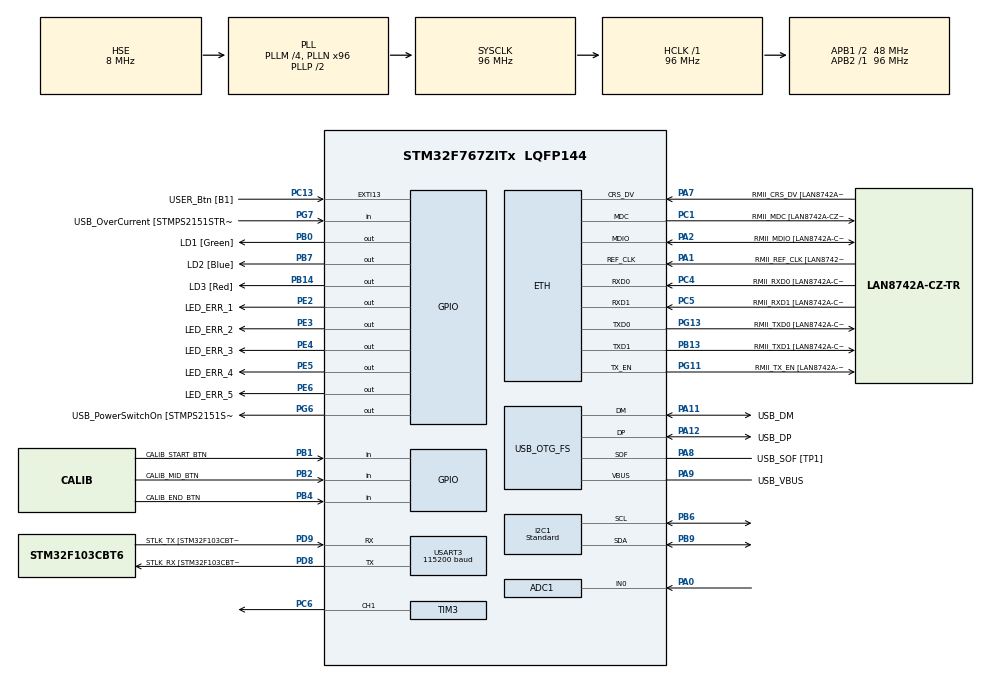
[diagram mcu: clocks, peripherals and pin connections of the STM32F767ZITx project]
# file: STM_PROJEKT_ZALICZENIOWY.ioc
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ADC1.Channel-0\#ChannelRegularConversion=ADC_CHANNEL_0
ADC1.ContinuousConvMode=DISABLE
ADC1.NbrOfConversionFlag=1
ADC1.Rank-0\#ChannelRegularConversion=1
ADC1.SamplingTime-0\#ChannelRegularConversion=ADC_SAMPLETIME_480CYCLES
ADC1.master=1
ARM.CMSIS.5.7.0.CMSISJjCORE=true
ARM.CMSIS.5.7.0.CMSISJjDSP=Library
ETH.MediaInterface=HAL_ETH_RMII_MODE
ETH.PHY_Name=LAN8742A_PHY_ADDRESS
ETH.PHY_Value=0
ETH.PhyAddress=0
FREERTOS.Tasks01=defaultTask,0,256,StartDefaultTask,Default,NULL,Dynamic,NULL,NULL;ControlTask,2,1024,StartControlTask,Default,NULL,Dynamic,NULL,NULL
FREERTOS.configUSE_NEWLIB_REENTRANT=1
I2C1.I2C_Speed_Mode=I2C_Standard
I2C1.Timing=0x20303E5D
Mcu.Family=STM32F7
Mcu.Name=STM32F767ZITx
Mcu.Package=LQFP144
NVIC.PriorityGroup=NVIC_PRIORITYGROUP_4
NVIC.TIM1_UP_TIM10_IRQn=true\:15\:0\:false\:false\:true\:false\:false\:true\:true
NVIC.TimeBase=TIM1_UP_TIM10_IRQn
NVIC.TimeBaseIP=TIM1
NVIC.USART3_IRQn=true\:5\:0\:false\:false\:true\:true\:true\:true\:true
PA0/WKUP.Signal=ADCx_IN0
PA1.GPIO_Label=RMII_REF_CLK [LAN8742A-CZ-TR_REFCLK0]
PA1.Mode=RMII
PA1.Signal=ETH_REF_CLK
PA10.GPIO_Label=USB_ID
PA10.Signal=USB_OTG_FS_ID
PA11.GPIO_Label=USB_DM
PA11.Mode=Device_Only
PA11.Signal=USB_OTG_FS_DM
PA12.GPIO_Label=USB_DP
PA12.Mode=Device_Only
PA12.Signal=USB_OTG_FS_DP
PA13.GPIO_Label=TMS
PA13.Mode=Serial_Wire
PA13.Signal=SYS_JTMS-SWDIO
PA14.GPIO_Label=TCK
PA14.Mode=Serial_Wire
PA14.Signal=SYS_JTCK-SWCLK
PA2.GPIO_Label=RMII_MDIO [LAN8742A-CZ-TR_MDIO]
PA2.Mode=RMII
PA2.Signal=ETH_MDIO
PA7.GPIO_Label=RMII_CRS_DV [LAN8742A-CZ-TR_CRS_DV]
PA7.Mode=RMII
PA7.Signal=ETH_CRS_DV
PA8.GPIO_Label=USB_SOF [TP1]
PA8.Mode=Activate_SOF_FS
PA8.Signal=USB_OTG_FS_SOF
PA9.GPIO_Label=USB_VBUS
PA9.Mode=Activate_VBUS
PA9.Signal=USB_OTG_FS_VBUS
PB0.GPIO_Label=LD1 [Green]
PB0.Signal=GPIO_Output
PB1.GPIO_Label=CALIB_START_BTN
PB1.GPIO_PuPd=GPIO_PULLUP
PB1.Signal=GPIO_Input
PB13.GPIO_Label=RMII_TXD1 [LAN8742A-CZ-TR_TXD1]
PB13.Mode=RMII
PB13.Signal=ETH_TXD1
PB14.GPIO_Label=LD3 [Red]
PB14.Signal=GPIO_Output
PB2.GPIO_Label=CALIB_MID_BTN
PB2.GPIO_PuPd=GPIO_PULLUP
PB2.Signal=GPIO_Input
PB3.GPIO_Label=SWO
PB3.Signal=SYS_JTDO-SWO
PB4.GPIO_Label=CALIB_END_BTN
PB4.GPIO_PuPd=GPIO_PULLUP
PB4.Signal=GPIO_Input
PB6.Mode=I2C
PB6.Signal=I2C1_SCL
PB7.GPIO_Label=LD2 [Blue]
PB7.Signal=GPIO_Output
PB9.Mode=I2C
PB9.Signal=I2C1_SDA
PC1.GPIO_Label=RMII_MDC [LAN8742A-CZ-TR_MDC]
PC1.Mode=RMII
PC1.Signal=ETH_MDC
PC13.GPIO_Label=USER_Btn [B1]
PC13.Signal=GPXTI13
PC14/OSC32_IN.Mode=LSE-External-Oscillator
PC14/OSC32_IN.Signal=RCC_OSC32_IN
PC15/OSC32_OUT.Mode=LSE-External-Oscillator
PC15/OSC32_OUT.Signal=RCC_OSC32_OUT
PC4.GPIO_Label=RMII_RXD0 [LAN8742A-CZ-TR_RXD0]
PC4.Mode=RMII
PC4.Signal=ETH_RXD0
PC5.GPIO_Label=RMII_RXD1 [LAN8742A-CZ-TR_RXD1]
PC5.Mode=RMII
PC5.Signal=ETH_RXD1
PC6.Signal=S_TIM3_CH1
PD8.GPIO_Label=STLK_RX [STM32F103CBT6_PA3]
PD8.Mode=Asynchronous
PD8.Signal=USART3_TX
PD9.GPIO_Label=STLK_TX [STM32F103CBT6_PA2]
PD9.Mode=Asynchronous
PD9.Signal=USART3_RX
PE2.GPIO_Label=LED_ERR_1
PE2.Signal=GPIO_Output
PE3.GPIO_Label=LED_ERR_2
PE3.Signal=GPIO_Output
PE4.GPIO_Label=LED_ERR_3
PE4.Signal=GPIO_Output
PE5.GPIO_Label=LED_ERR_4
PE5.Signal=GPIO_Output
PE6.GPIO_Label=LED_ERR_5
PE6.Signal=GPIO_Output
PG11.GPIO_Label=RMII_TX_EN [LAN8742A-CZ-TR_TXEN]
PG11.Mode=RMII
PG11.Signal=ETH_TX_EN
PG13.GPIO_Label=RMII_TXD0 [LAN8742A-CZ-TR_TXD0]
PG13.Mode=RMII
PG13.Signal=ETH_TXD0
PG6.GPIO_Label=USB_PowerSwitchOn [STMPS2151STR_EN]
PG6.Signal=GPIO_Output
PG7.GPIO_Label=USB_OverCurrent [STMPS2151STR_FAULT]
PG7.Signal=GPIO_Input
PH0/OSC_IN.GPIO_Label=MCO [STM32F103CBT6_PA8]
PH0/OSC_IN.Mode=HSE-External-Clock-Source
PH0/OSC_IN.Signal=RCC_OSC_IN
PH1/OSC_OUT.Mode=HSE-External-Clock-Source
PH1/OSC_OUT.Signal=RCC_OSC_OUT
ProjectManager.HeapSize=0x200
ProjectManager.StackSize=0x400
ProjectManager.TargetToolchain=STM32CubeIDE
RCC.48MHZClocksFreq_Value=24000000
RCC.AHBFreq_Value=96000000
RCC.APB1CLKDivider=RCC_HCLK_DIV2
RCC.APB1Freq_Value=48000000
RCC.APB1TimFreq_Value=96000000
RCC.APB2Freq_Value=96000000
RCC.APB2TimFreq_Value=96000000
RCC.CortexFreq_Value=96000000
RCC.HCLKFreq_Value=96000000
RCC.HSE_VALUE=8000000
RCC.HSI_VALUE=16000000
RCC.PLLM=4
RCC.PLLMUL=RCC_PLL_MUL9
RCC.PLLN=96
RCC.PLLQ=4
RCC.PRESCALERUSB=RCC_USBCLKSOURCE_PLL_DIV1_5
RCC.SYSCLKFreq_VALUE=96000000
RCC.SYSCLKSource=RCC_SYSCLKSOURCE_PLLCLK
RCC.SYSCLKSourceVirtual=RCC_SYSCLKSOURCE_PLLCLK
RCC.USBFreq_Value=48000000
RCC.VCOOutputFreq_Value=192000000
SH.ADCx_IN0.0=ADC1_IN0,IN0
SH.S_TIM3_CH1.0=TIM3_CH1,PWM Generation1 CH1
TIM3.Channel-PWM\ Generation1\ CH1=TIM_CHANNEL_1
TIM3.Period=19999
TIM3.Prescaler=95
USART3.BaudRate=115200
USART3.VirtualMode-Asynchronous=VM_ASYNC
USB_OTG_FS.VirtualMode=Device_Only
VP_ARM.CMSIS_VS_CMSISJjCORE_5.4.0_5.7.0.Mode=CMSISJjCORE
VP_ARM.CMSIS_VS_CMSISJjDSP_1.8.0_5.7.0.Mode=CMSISJjDSP
VP_FREERTOS_VS_CMSIS_V1.Mode=CMSIS_V1
VP_SYS_VS_tim1.Mode=TIM1
VP_TIM3_VS_ClockSourceINT.Mode=Internal
board=NUCLEO-F767ZI

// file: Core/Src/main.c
/* USER CODE BEGIN Header */
/**
 ******************************************************************************
 * @file           : main.c
 * @brief          : Main program body
 ******************************************************************************
 * @attention
 *
 * Copyright (c) 2025 STMicroelectronics.
 * All rights reserved.
 *
 * This software is licensed under terms that can be found in the LICENSE file
 * in the root directory of this software component.
 * If no LICENSE file comes with this software, it is provided AS-IS.
 *
 ******************************************************************************
 */
/* USER CODE END Header */
#include "main.h"
#include "string.h"
#include "cmsis_os.h"

/* USER CODE BEGIN Includes */

#include "VL53L0X.h"
#include <stdio.h>
#include <stdlib.h>
#include <math.h>
#include "filters.h"
#include "calibration.h"
#include "servo_pid.h"
#include "lqr.h"
#include "crc8.h"
#include "leds.h"

/* USER CODE END Includes */

#if defined ( __ICCARM__ ) /*!< IAR Compiler */
#pragma location=0x2007c000
ETH_DMADescTypeDef  DMARxDscrTab[ETH_RX_DESC_CNT]; /* Ethernet Rx DMA Descriptors */
#pragma location=0x2007c0a0
ETH_DMADescTypeDef  DMATxDscrTab[ETH_TX_DESC_CNT]; /* Ethernet Tx DMA Descriptors */

#elif defined ( __CC_ARM )  /* MDK ARM Compiler */

__attribute__((at(0x2007c000))) ETH_DMADescTypeDef  DMARxDscrTab[ETH_RX_DESC_CNT]; /* Ethernet Rx DMA Descriptors */
__attribute__((at(0x2007c0a0))) ETH_DMADescTypeDef  DMATxDscrTab[ETH_TX_DESC_CNT]; /* Ethernet Tx DMA Descriptors */

#elif defined ( __GNUC__ ) /* GNU Compiler */

ETH_DMADescTypeDef DMARxDscrTab[ETH_RX_DESC_CNT] __attribute__((section(".RxDecripSection"))); /* Ethernet Rx DMA Descriptors */
ETH_DMADescTypeDef DMATxDscrTab[ETH_TX_DESC_CNT] __attribute__((section(".TxDecripSection"))); /* Ethernet Tx DMA Descriptors */
#endif

ETH_TxPacketConfig TxConfig;

ADC_HandleTypeDef hadc1;

ETH_HandleTypeDef heth;

I2C_HandleTypeDef hi2c1;

TIM_HandleTypeDef htim3;

UART_HandleTypeDef huart3;
DMA_HandleTypeDef hdma_usart3_rx;
DMA_HandleTypeDef hdma_usart3_tx;

PCD_HandleTypeDef hpcd_USB_OTG_FS;

osThreadId defaultTaskHandle;
osThreadId ControlTaskHandle;
/* USER CODE BEGIN PV */
uint16_t distance;
char msg[64];

// --- DMA UART RX ---
#define DMA_RX_BUFFER_SIZE 128
uint8_t dma_rx_buffer[DMA_RX_BUFFER_SIZE];
volatile uint16_t dma_rx_head = 0;  // Wskaźnik przetwarzania

// Bufor na komendy/ramki
uint8_t cmd_buffer[64];
volatile uint8_t cmd_len = 0;
volatile uint8_t cmd_received = 0;

// Dane z systemu wizyjnego (Python)
volatile float g_vision_ball_pos = 125.0f;   // Pozycja piłeczki [mm] z OpenCV
volatile float g_vision_beam_angle = 0.0f;   // Kąt belki [stopnie] z OpenCV
volatile uint8_t g_vision_data_valid = 0;    // Flaga: czy dane są aktualne
volatile uint32_t g_vision_last_update = 0;  // Timestamp ostatniej aktualizacji

// Stare zmienne obsługi UART (do usunięcia po pełnej migracji)
uint8_t rx_byte;
uint8_t rx_buffer[64];
volatile uint8_t rx_idx = 0;

// Główne zmienne sterujące
volatile float g_setpoint = 125.0f;
volatile float g_Kp = 0.26f;
volatile float g_Ki = 0.0064f;
volatile float g_Kd = 4.4f;

// Zmienne kalibracji
// volatile uint8_t calibration_mode = 0;
// volatile float cal_raw_min = 9999.0f;
// volatile float cal_raw_max = 0.0f;
// volatile uint32_t cal_start_time = 0;

// // Domyślne punkty kalibracyjne
// volatile float sensor_min = 50.0f;
// volatile float sensor_max = 220.0f;
// volatile float sensor_middle = 115.0f;

// Bufor średniego uchybu
float err_buffer[AVG_ERR_SAMPLES];
uint8_t err_idx = 0;
float err_sum = 0.0f;

// Tryb sterowania: 0 = GUI (Manual), 1 = Analog (Potencjometr)
volatile uint8_t control_mode = 0;

// Start/Stop regulatora: 0 = wyłączony, 1 = włączony (domyślnie)
volatile uint8_t g_regulator_enabled = 1;

// Kontroler ServoPID (nasza implementacja) - domyślny
ServoPID_Controller g_servo_pid;

// Kontroler LQR (model 3-stanowy)
LQR_Controller_t g_lqr_ctrl;
volatile float g_K1 = 1.00f;
volatile float g_K2 = 0.75f;
volatile float g_K3 = 0.38f;

// Tryb regulacji: 0 = Custom PID (servo_pid, domyślny), 1 = LQR
volatile uint8_t g_pid_mode = 0;

// Debugging
volatile uint32_t g_adc_raw = 0;
volatile float g_pot_setpoint = 0.0f;

// Zmienna współdzielona do wizualizacji błędu na LED
volatile float g_current_error = 0.0f;

// Manual control angle (when regulator is disabled) - in DEGREES
volatile float g_manual_servo_angle_deg = SERVO_CENTER_DEG;

#include "signal.h" // Generated by Matlab

// --- ID TEST VARIABLES ---
volatile uint8_t g_test_running = 0;
volatile uint32_t g_test_index = 0;

// Sampling period (ms) - can be changed via UART command T:xx
volatile uint32_t g_pid_dt_ms = PID_DT_MS;

/* USER CODE END PV */

void SystemClock_Config(void);
static void MX_GPIO_Init(void);
static void MX_DMA_Init(void);
static void MX_ETH_Init(void);
static void MX_USART3_UART_Init(void);
static void MX_USB_OTG_FS_PCD_Init(void);
static void MX_TIM3_Init(void);
static void MX_I2C1_Init(void);
static void MX_ADC1_Init(void);
void StartDefaultTask(void const *argument);
void StartControlTask(void const *argument);

/* USER CODE BEGIN PFP */

void SetServoAngleDeg(float degrees);
void SetServoAngleSmoothDeg(float target_deg);
extern float g_current_hw_angle_deg;
// Funkcje PID, CRC8, LEDs przeniesione do osobnych modułów

/* USER CODE END PFP */

/* USER CODE BEGIN 0 */

// --- Funkcje DMA UART (bez przerwań na każdy bajt) ---
// Parsowanie ramki wizyjnej: "V:125.5;B:2.3;C:XX\n"
// V = pozycja piłeczki [mm], B = kąt belki [stopnie], C = CRC8
void ParseVisionFrame(const char *frame) {
	float ball_pos = -1.0f;
	float beam_angle = 0.0f;
	uint8_t crc_received = 0;
	int crc_found = 0;

	// Znajdź CRC na końcu
	const char *crc_ptr = strstr(frame, ";C:");
	if (crc_ptr != NULL) {
		crc_received = (uint8_t) strtol(crc_ptr + 3, NULL, 16);
		crc_found = 1;
	}

	// Parsuj pola
	const char *ptr = frame;
	while (*ptr) {
		if (ptr[0] == 'V' && ptr[1] == ':') {
			ball_pos = atof(ptr + 2);
		} else if (ptr[0] == 'B' && ptr[1] == ':') {
			beam_angle = atof(ptr + 2);
		}
		// Przejdź do następnego pola
		while (*ptr && *ptr != ';')
			ptr++;
		if (*ptr == ';')
			ptr++;
	}

	if (crc_found && ball_pos >= 0.0f) {
		int data_len = (crc_ptr != NULL) ? (int) (crc_ptr - frame) : strlen(frame);
		uint8_t crc_calc = CalculateCRC8(frame, data_len);

		if (crc_calc == crc_received) {
			// Dane poprawne - zapisz
			g_vision_ball_pos = ball_pos;
			g_vision_beam_angle = beam_angle;
			g_vision_data_valid = 1;
			g_vision_last_update = HAL_GetTick();
		}
	} else if (ball_pos >= 0.0f) {
		// Brak CRC ale dane wyglądają ok - zaakceptuj (dla testów)
		g_vision_ball_pos = ball_pos;
		g_vision_beam_angle = beam_angle;
		g_vision_data_valid = 1;
		g_vision_last_update = HAL_GetTick();
	}
}

// Przetwarzanie bufora DMA - wywoływane w głównej pętli (polling)
void ProcessDmaRxBuffer(void) {
	// Pobierz aktualną pozycję DMA (ile bajtów pozostało do końca bufora)
	uint16_t dma_tail = DMA_RX_BUFFER_SIZE - __HAL_DMA_GET_COUNTER(&hdma_usart3_rx);

	while (dma_rx_head != dma_tail) {
		uint8_t byte = dma_rx_buffer[dma_rx_head];
		dma_rx_head = (dma_rx_head + 1) % DMA_RX_BUFFER_SIZE;

		if (byte == '\n' || byte == '\r') {
			if (cmd_len > 0) {
				cmd_buffer[cmd_len] = '\0';

				// Sprawdź typ ramki
				if (cmd_buffer[0] == 'V' && cmd_buffer[1] == ':') {
					// Ramka z systemu wizyjnego
					ParseVisionFrame((char*) cmd_buffer);
				} else {
					// Standardowa komenda (S:, P:, I:, D:, itd.)
					memcpy(rx_buffer, cmd_buffer, cmd_len + 1);
					cmd_received = 1;
				}
				cmd_len = 0;
			}
		} else {
			if (cmd_len < 63) {
				cmd_buffer[cmd_len++] = byte;
			}
		}
	}
}

// Callback IDLE line (opcjonalny - dla wykrywania końca transmisji)
void HAL_UARTEx_RxEventCallback(UART_HandleTypeDef *huart, uint16_t Size) {
	if (huart->Instance == USART3) {
	}
}

void HAL_UART_RxCpltCallback(UART_HandleTypeDef *huart) {
}

/**
 * @brief Ustawia kąt serwa w STOPNIACH (środek = 0°)
 * @param degrees: Kąt w stopniach, zakres -90 do +90
 */
void SetServoAngleDeg(float degrees) {
	// Saturacja do fizycznego zakresu serwa
	if (degrees < -90.0f)
		degrees = -90.0f;
	if (degrees > 90.0f)
		degrees = 90.0f;

	// Przeliczenie: degrees -> PWM (1500 ± degrees/90 * 1000)
	uint32_t pulse_length = (uint32_t) (SERVO_PWM_CENTER + (degrees / SERVO_PWM_RANGE) * 1000.0f);

	__HAL_TIM_SET_COMPARE(&htim3, TIM_CHANNEL_1, pulse_length);
}

// Aktualny kąt sprzętowy w stopniach (do slew rate) - NIE static, dostępna z zewnątrz
float g_current_hw_angle_deg = SERVO_CENTER_DEG;

/**
 * @brief Ustawia kąt serwa z slew rate i deadband (w stopniach)
 * @param target_deg: Docelowy kąt w stopniach
 */
void SetServoAngleSmoothDeg(float target_deg) {
	float diff = target_deg - g_current_hw_angle_deg;

	// Deadband - nie aktualizuj przy zbyt małej zmianie
	if (diff > -SERVO_ANGLE_DEADBAND && diff < SERVO_ANGLE_DEADBAND) {
		return;
	}

	// Slew rate limiter
	float max_change = SERVO_SLEW_RATE * (PID_DT_MS / 1000.0f);
	if (diff > max_change) {
		target_deg = g_current_hw_angle_deg + max_change;
	} else if (diff < -max_change) {
		target_deg = g_current_hw_angle_deg - max_change;
	}

	// Saturacja do limitów roboczych
	if (target_deg < SERVO_MIN_DEG)
		target_deg = SERVO_MIN_DEG;
	if (target_deg > SERVO_MAX_DEG)
		target_deg = SERVO_MAX_DEG;

	SetServoAngleDeg(target_deg);
	g_current_hw_angle_deg = target_deg;
}

/* USER CODE END 0 */

int main(void) {

	/* MCU Configuration--------------------------------------------------------*/

	/* Reset of all peripherals, Initializes the Flash interface and the Systick. */
	HAL_Init();

	/* USER CODE BEGIN Init */
	HAL_Delay(500); // Czekaj na ustabilizowanie zasilania czujników
	/* USER CODE END Init */

	/* Configure the system clock */
	SystemClock_Config();

	/* Initialize all configured peripherals */
	MX_GPIO_Init();
	MX_DMA_Init();
	MX_ETH_Init();
	MX_USART3_UART_Init();
	MX_USB_OTG_FS_PCD_Init();
	MX_TIM3_Init();
	MX_I2C1_Init();
	MX_ADC1_Init();
	/* USER CODE BEGIN 2 */

	// Initialization moved to StartControlTask
	/* USER CODE END 2 */

	/* Create the thread(s) */
	/* definition and creation of defaultTask */
	osThreadDef(defaultTask, StartDefaultTask, osPriorityNormal, 0, 256);
	defaultTaskHandle = osThreadCreate(osThread(defaultTask), NULL);

	/* definition and creation of ControlTask */
	osThreadDef(ControlTask, StartControlTask, osPriorityHigh, 0, 1024);
	ControlTaskHandle = osThreadCreate(osThread(ControlTask), NULL);

	/* Start scheduler */
	osKernelStart();

	/* We should never get here as control is now taken by the scheduler */

	/* Infinite loop */
	/* USER CODE BEGIN WHILE */
	/* USER CODE BEGIN WHILE */
	while (1) {
		/* USER CODE END WHILE */

	}
}

void SystemClock_Config(void) {
	RCC_OscInitTypeDef RCC_OscInitStruct = { 0 };
	RCC_ClkInitTypeDef RCC_ClkInitStruct = { 0 };

	/** Configure LSE Drive Capability
	 */
	HAL_PWR_EnableBkUpAccess();

	/** Configure the main internal regulator output voltage
	 */
	__HAL_RCC_PWR_CLK_ENABLE();
	__HAL_PWR_VOLTAGESCALING_CONFIG(PWR_REGULATOR_VOLTAGE_SCALE3);

	/** Initializes the RCC Oscillators according to the specified parameters
	 * in the RCC_OscInitTypeDef structure.
	 */
	RCC_OscInitStruct.OscillatorType = RCC_OSCILLATORTYPE_HSE;
	RCC_OscInitStruct.HSEState = RCC_HSE_BYPASS;
	RCC_OscInitStruct.PLL.PLLState = RCC_PLL_ON;
	RCC_OscInitStruct.PLL.PLLSource = RCC_PLLSOURCE_HSE;
	RCC_OscInitStruct.PLL.PLLM = 4;
	RCC_OscInitStruct.PLL.PLLN = 96;
	RCC_OscInitStruct.PLL.PLLP = RCC_PLLP_DIV2;
	RCC_OscInitStruct.PLL.PLLQ = 4;
	RCC_OscInitStruct.PLL.PLLR = 2;
	if (HAL_RCC_OscConfig(&RCC_OscInitStruct) != HAL_OK) {
		Error_Handler();
	}

	/** Activate the Over-Drive mode
	 */
	if (HAL_PWREx_EnableOverDrive() != HAL_OK) {
		Error_Handler();
	}

	/** Initializes the CPU, AHB and APB buses clocks
	 */
	RCC_ClkInitStruct.ClockType = RCC_CLOCKTYPE_HCLK | RCC_CLOCKTYPE_SYSCLK | RCC_CLOCKTYPE_PCLK1 | RCC_CLOCKTYPE_PCLK2;
	RCC_ClkInitStruct.SYSCLKSource = RCC_SYSCLKSOURCE_PLLCLK;
	RCC_ClkInitStruct.AHBCLKDivider = RCC_SYSCLK_DIV1;
	RCC_ClkInitStruct.APB1CLKDivider = RCC_HCLK_DIV2;
	RCC_ClkInitStruct.APB2CLKDivider = RCC_HCLK_DIV1;

	if (HAL_RCC_ClockConfig(&RCC_ClkInitStruct, FLASH_LATENCY_3) != HAL_OK) {
		Error_Handler();
	}
}

static void MX_ADC1_Init(void) {

	ADC_ChannelConfTypeDef sConfig = { 0 };

	/** Configure the global features of the ADC (Clock, Resolution, Data Alignment and number of conversion)
	 */
	hadc1.Instance = ADC1;
	hadc1.Init.ClockPrescaler = ADC_CLOCK_SYNC_PCLK_DIV4;
	hadc1.Init.Resolution = ADC_RESOLUTION_12B;
	hadc1.Init.ScanConvMode = ADC_SCAN_DISABLE;
	hadc1.Init.ContinuousConvMode = DISABLE;
	hadc1.Init.DiscontinuousConvMode = DISABLE;
	hadc1.Init.ExternalTrigConvEdge = ADC_EXTERNALTRIGCONVEDGE_NONE;
	hadc1.Init.ExternalTrigConv = ADC_SOFTWARE_START;
	hadc1.Init.DataAlign = ADC_DATAALIGN_RIGHT;
	hadc1.Init.NbrOfConversion = 1;
	hadc1.Init.DMAContinuousRequests = DISABLE;
	hadc1.Init.EOCSelection = ADC_EOC_SINGLE_CONV;
	if (HAL_ADC_Init(&hadc1) != HAL_OK) {
		Error_Handler();
	}

	/** Configure for the selected ADC regular channel its corresponding rank in the sequencer and its sample time.
	 */
	sConfig.Channel = ADC_CHANNEL_0;
	sConfig.Rank = ADC_REGULAR_RANK_1;
	sConfig.SamplingTime = ADC_SAMPLETIME_480CYCLES;
	if (HAL_ADC_ConfigChannel(&hadc1, &sConfig) != HAL_OK) {
		Error_Handler();
	}

}

static void MX_ETH_Init(void) {

	static uint8_t MACAddr[6];

	heth.Instance = ETH;
	MACAddr[0] = 0x00;
	MACAddr[1] = 0x80;
	MACAddr[2] = 0xE1;
	MACAddr[3] = 0x00;
	MACAddr[4] = 0x00;
	MACAddr[5] = 0x00;
	heth.Init.MACAddr = &MACAddr[0];
	heth.Init.MediaInterface = HAL_ETH_RMII_MODE;
	heth.Init.TxDesc = DMATxDscrTab;
	heth.Init.RxDesc = DMARxDscrTab;
	heth.Init.RxBuffLen = 1524;

	if (HAL_ETH_Init(&heth) != HAL_OK) {
		Error_Handler();
	}

	memset(&TxConfig, 0, sizeof(ETH_TxPacketConfig));
	TxConfig.Attributes = ETH_TX_PACKETS_FEATURES_CSUM | ETH_TX_PACKETS_FEATURES_CRCPAD;
	TxConfig.ChecksumCtrl = ETH_CHECKSUM_IPHDR_PAYLOAD_INSERT_PHDR_CALC;
	TxConfig.CRCPadCtrl = ETH_CRC_PAD_INSERT;

}

static void MX_I2C1_Init(void) {

	hi2c1.Instance = I2C1;
	hi2c1.Init.Timing = 0x20303E5D;
	hi2c1.Init.OwnAddress1 = 0;
	hi2c1.Init.AddressingMode = I2C_ADDRESSINGMODE_7BIT;
	hi2c1.Init.DualAddressMode = I2C_DUALADDRESS_DISABLE;
	hi2c1.Init.OwnAddress2 = 0;
	hi2c1.Init.OwnAddress2Masks = I2C_OA2_NOMASK;
	hi2c1.Init.GeneralCallMode = I2C_GENERALCALL_DISABLE;
	hi2c1.Init.NoStretchMode = I2C_NOSTRETCH_DISABLE;
	if (HAL_I2C_Init(&hi2c1) != HAL_OK) {
		Error_Handler();
	}

	/** Configure Analogue filter
	 */
	if (HAL_I2CEx_ConfigAnalogFilter(&hi2c1, I2C_ANALOGFILTER_ENABLE) != HAL_OK) {
		Error_Handler();
	}

	/** Configure Digital filter
	 */
	if (HAL_I2CEx_ConfigDigitalFilter(&hi2c1, 0) != HAL_OK) {
		Error_Handler();
	}

}

static void MX_TIM3_Init(void) {

	TIM_ClockConfigTypeDef sClockSourceConfig = { 0 };
	TIM_MasterConfigTypeDef sMasterConfig = { 0 };
	TIM_OC_InitTypeDef sConfigOC = { 0 };

	htim3.Instance = TIM3;
	htim3.Init.Prescaler = 95;
	htim3.Init.CounterMode = TIM_COUNTERMODE_UP;
	htim3.Init.Period = 19999;
	htim3.Init.ClockDivision = TIM_CLOCKDIVISION_DIV1;
	htim3.Init.AutoReloadPreload = TIM_AUTORELOAD_PRELOAD_DISABLE;
	if (HAL_TIM_Base_Init(&htim3) != HAL_OK) {
		Error_Handler();
	}
	sClockSourceConfig.ClockSource = TIM_CLOCKSOURCE_INTERNAL;
	if (HAL_TIM_ConfigClockSource(&htim3, &sClockSourceConfig) != HAL_OK) {
		Error_Handler();
	}
	if (HAL_TIM_PWM_Init(&htim3) != HAL_OK) {
		Error_Handler();
	}
	sMasterConfig.MasterOutputTrigger = TIM_TRGO_RESET;
	sMasterConfig.MasterSlaveMode = TIM_MASTERSLAVEMODE_DISABLE;
	if (HAL_TIMEx_MasterConfigSynchronization(&htim3, &sMasterConfig) != HAL_OK) {
		Error_Handler();
	}
	sConfigOC.OCMode = TIM_OCMODE_PWM1;
	sConfigOC.Pulse = 0;
	sConfigOC.OCPolarity = TIM_OCPOLARITY_HIGH;
	sConfigOC.OCFastMode = TIM_OCFAST_DISABLE;
	if (HAL_TIM_PWM_ConfigChannel(&htim3, &sConfigOC, TIM_CHANNEL_1) != HAL_OK) {
		Error_Handler();
	}
	HAL_TIM_MspPostInit(&htim3);

}

static void MX_USART3_UART_Init(void) {

	huart3.Instance = USART3;
	huart3.Init.BaudRate = 115200;
	huart3.Init.WordLength = UART_WORDLENGTH_8B;
	huart3.Init.StopBits = UART_STOPBITS_1;
	huart3.Init.Parity = UART_PARITY_NONE;
	huart3.Init.Mode = UART_MODE_TX_RX;
	huart3.Init.HwFlowCtl = UART_HWCONTROL_NONE;
	huart3.Init.OverSampling = UART_OVERSAMPLING_16;
	huart3.Init.OneBitSampling = UART_ONE_BIT_SAMPLE_DISABLE;
	huart3.AdvancedInit.AdvFeatureInit = UART_ADVFEATURE_NO_INIT;
	if (HAL_UART_Init(&huart3) != HAL_OK) {
		Error_Handler();
	}

}

static void MX_USB_OTG_FS_PCD_Init(void) {

	hpcd_USB_OTG_FS.Instance = USB_OTG_FS;
	hpcd_USB_OTG_FS.Init.dev_endpoints = 6;
	hpcd_USB_OTG_FS.Init.speed = PCD_SPEED_FULL;
	hpcd_USB_OTG_FS.Init.dma_enable = DISABLE;
	hpcd_USB_OTG_FS.Init.phy_itface = PCD_PHY_EMBEDDED;
	hpcd_USB_OTG_FS.Init.Sof_enable = ENABLE;
	hpcd_USB_OTG_FS.Init.low_power_enable = DISABLE;
	hpcd_USB_OTG_FS.Init.lpm_enable = DISABLE;
	hpcd_USB_OTG_FS.Init.vbus_sensing_enable = ENABLE;
	hpcd_USB_OTG_FS.Init.use_dedicated_ep1 = DISABLE;
	if (HAL_PCD_Init(&hpcd_USB_OTG_FS) != HAL_OK) {
		Error_Handler();
	}

}

static void MX_DMA_Init(void) {

	/* DMA controller clock enable */
	__HAL_RCC_DMA1_CLK_ENABLE();

	/* DMA interrupt init */
	/* DMA1_Stream1_IRQn interrupt configuration */
	HAL_NVIC_SetPriority(DMA1_Stream1_IRQn, 5, 0);
	HAL_NVIC_EnableIRQ(DMA1_Stream1_IRQn);
	/* DMA1_Stream3_IRQn interrupt configuration */
	HAL_NVIC_SetPriority(DMA1_Stream3_IRQn, 5, 0);
	HAL_NVIC_EnableIRQ(DMA1_Stream3_IRQn);

}

static void MX_GPIO_Init(void) {
	GPIO_InitTypeDef GPIO_InitStruct = { 0 };

	/* GPIO Ports Clock Enable */
	__HAL_RCC_GPIOE_CLK_ENABLE();
	__HAL_RCC_GPIOC_CLK_ENABLE();
	__HAL_RCC_GPIOH_CLK_ENABLE();
	__HAL_RCC_GPIOA_CLK_ENABLE();
	__HAL_RCC_GPIOB_CLK_ENABLE();
	__HAL_RCC_GPIOD_CLK_ENABLE();
	__HAL_RCC_GPIOG_CLK_ENABLE();

	/*Configure GPIO pin Output Level */
	HAL_GPIO_WritePin(GPIOE, LED_ERR_1_Pin | LED_ERR_2_Pin | LED_ERR_3_Pin | LED_ERR_4_Pin | LED_ERR_5_Pin,
			GPIO_PIN_RESET);

	/*Configure GPIO pin Output Level */
	HAL_GPIO_WritePin(GPIOB, LD1_Pin | LD3_Pin | LD2_Pin, GPIO_PIN_RESET);

	/*Configure GPIO pin Output Level */
	HAL_GPIO_WritePin(USB_PowerSwitchOn_GPIO_Port, USB_PowerSwitchOn_Pin, GPIO_PIN_RESET);

	/*Configure GPIO pins : LED_ERR_1_Pin LED_ERR_2_Pin LED_ERR_3_Pin LED_ERR_4_Pin
	 LED_ERR_5_Pin */
	GPIO_InitStruct.Pin = LED_ERR_1_Pin | LED_ERR_2_Pin | LED_ERR_3_Pin | LED_ERR_4_Pin | LED_ERR_5_Pin;
	GPIO_InitStruct.Mode = GPIO_MODE_OUTPUT_PP;
	GPIO_InitStruct.Pull = GPIO_NOPULL;
	GPIO_InitStruct.Speed = GPIO_SPEED_FREQ_LOW;
	HAL_GPIO_Init(GPIOE, &GPIO_InitStruct);

	/*Configure GPIO pin : USER_Btn_Pin */
	GPIO_InitStruct.Pin = USER_Btn_Pin;
	GPIO_InitStruct.Mode = GPIO_MODE_IT_RISING;
	GPIO_InitStruct.Pull = GPIO_NOPULL;
	HAL_GPIO_Init(USER_Btn_GPIO_Port, &GPIO_InitStruct);

	/*Configure GPIO pins : LD1_Pin LD3_Pin LD2_Pin */
	GPIO_InitStruct.Pin = LD1_Pin | LD3_Pin | LD2_Pin;
	GPIO_InitStruct.Mode = GPIO_MODE_OUTPUT_PP;
	GPIO_InitStruct.Pull = GPIO_NOPULL;
	GPIO_InitStruct.Speed = GPIO_SPEED_FREQ_LOW;
	HAL_GPIO_Init(GPIOB, &GPIO_InitStruct);

	/*Configure GPIO pins : CALIB_START_BTN_Pin CALIB_MID_BTN_Pin CALIB_END_BTN_Pin */
	GPIO_InitStruct.Pin = CALIB_START_BTN_Pin | CALIB_MID_BTN_Pin | CALIB_END_BTN_Pin;
	GPIO_InitStruct.Mode = GPIO_MODE_INPUT;
	GPIO_InitStruct.Pull = GPIO_PULLUP;
	HAL_GPIO_Init(GPIOB, &GPIO_InitStruct);

	/*Configure GPIO pin : USB_PowerSwitchOn_Pin */
	GPIO_InitStruct.Pin = USB_PowerSwitchOn_Pin;
	GPIO_InitStruct.Mode = GPIO_MODE_OUTPUT_PP;
	GPIO_InitStruct.Pull = GPIO_NOPULL;
	GPIO_InitStruct.Speed = GPIO_SPEED_FREQ_LOW;
	HAL_GPIO_Init(USB_PowerSwitchOn_GPIO_Port, &GPIO_InitStruct);

	/*Configure GPIO pin : USB_OverCurrent_Pin */
	GPIO_InitStruct.Pin = USB_OverCurrent_Pin;
	GPIO_InitStruct.Mode = GPIO_MODE_INPUT;
	GPIO_InitStruct.Pull = GPIO_NOPULL;
	HAL_GPIO_Init(USB_OverCurrent_GPIO_Port, &GPIO_InitStruct);

}

void StartDefaultTask(void const *argument) {
	/* USER CODE BEGIN 5 */
	// Poczekaj na inicjalizację DMA w ControlTask (min 2.2s)
	osDelay(3000);

	HAL_UART_Transmit(&huart3, (uint8_t*) "[DEFAULT] Task started, DMA polling active\r\n", 44, 100);

	/* Infinite loop */
	for (;;) {
		// --- PRZETWARZANIE BUFORA DMA (polling) ---
		// Przetwarzamy tutaj aby komendy (S:, P:, I:, D:) były obsługiwane
		ProcessDmaRxBuffer();

		// Obsługa komend UART (przeniesione z ControlTask)
		if (cmd_received) {
			if (rx_buffer[0] == 'S' && rx_buffer[1] == ':') {
				g_setpoint = atof((char*) &rx_buffer[2]); // S:Setpoint
				if (g_setpoint < 0.0f)
					g_setpoint = 0.0f;
				if (g_setpoint > 250.0f)
					g_setpoint = 250.0f;
			} else if (rx_buffer[0] == 'P' && rx_buffer[1] == ':') {
				g_Kp = atof((char*) &rx_buffer[2]);
			} else if (rx_buffer[0] == 'I' && rx_buffer[1] == ':') {
				g_Ki = atof((char*) &rx_buffer[2]);
			} else if (rx_buffer[0] == 'D' && rx_buffer[1] == ':') {
				g_Kd = atof((char*) &rx_buffer[2]);
			} else if (rx_buffer[0] == 'L' && rx_buffer[1] == '1' && rx_buffer[2] == ':') {
				// LQR K1 gain (pozycja)
				g_K1 = atof((char*) &rx_buffer[3]);
				LQR_UpdateGains(&g_lqr_ctrl, g_K1, g_K2, g_K3);
				sprintf(msg, "LQR K1: %.2f\r\n", g_K1);
				HAL_UART_Transmit(&huart3, (uint8_t*) msg, strlen(msg), 100);
			} else if (rx_buffer[0] == 'L' && rx_buffer[1] == '2' && rx_buffer[2] == ':') {
				// LQR K2 gain (prędkość)
				g_K2 = atof((char*) &rx_buffer[3]);
				LQR_UpdateGains(&g_lqr_ctrl, g_K1, g_K2, g_K3);
				sprintf(msg, "LQR K2: %.2f\r\n", g_K2);
				HAL_UART_Transmit(&huart3, (uint8_t*) msg, strlen(msg), 100);
			} else if (rx_buffer[0] == 'L' && rx_buffer[1] == '3' && rx_buffer[2] == ':') {
				// LQR K3 gain (kąt belki)
				g_K3 = atof((char*) &rx_buffer[3]);
				LQR_UpdateGains(&g_lqr_ctrl, g_K1, g_K2, g_K3);
				sprintf(msg, "LQR K3: %.2f\r\n", g_K3);
				HAL_UART_Transmit(&huart3, (uint8_t*) msg, strlen(msg), 100);
			} else if (rx_buffer[0] == 'X' && rx_buffer[1] == ':') {
				// Przełączanie trybu regulatora: 0 = Custom PID, 1 = LQR
				g_pid_mode = (uint8_t) atoi((char*) &rx_buffer[2]);
				const char *mode_name = (g_pid_mode == 0) ? "CUSTOM PID" : "LQR";
				sprintf(msg, "CONTROLLER MODE: %s\r\n", mode_name);
				HAL_UART_Transmit(&huart3, (uint8_t*) msg, strlen(msg), 100);
			}
			// Komendy Kalibracji
			// Format: "CAL0:50.0,0.0" -> Punkt 0: Surowy=50.0, Rzeczywisty=0.0
			else if (strncmp((char*) rx_buffer, "CAL:RESET", 9) == 0) {
				Calibration_Init();
				sprintf(msg, "[CAL] RESET DONE. Waiting for points...\r\n");
				HAL_UART_Transmit(&huart3, (uint8_t*) msg, strlen(msg), 100);
			} else if (rx_buffer[0] == 'C' && rx_buffer[1] == 'A' && rx_buffer[2] == 'L') {
				int cal_idx = rx_buffer[3] - '0'; // Indeks punktu
				if (cal_idx >= 0 && cal_idx < 5) {
					char *comma = strchr((char*) &rx_buffer[5], ',');
					if (comma != NULL) {
						*comma = '\0';
						float raw_val = atof((char*) &rx_buffer[5]);
						float actual_val = atof(comma + 1);

						// Aktualizacja w bibliotece kalibracyjnej
						Calibration_UpdatePoint(cal_idx, raw_val, actual_val);

						// Sprawdzenie czy mamy komplet punktów
						if (Calibration_IsReady()) {
							sprintf(msg, "[CAL] ✅ All points received! System READY!\r\n");
							HAL_UART_Transmit(&huart3, (uint8_t*) msg, strlen(msg), 100);
						} else {
							// Potwierdzenie przyjęcia punktu
							int r_i = (int) raw_val;
							int r_d = (int) ((raw_val - r_i) * 10);
							int a_i = (int) actual_val;
							int a_d = (int) ((actual_val - a_i) * 10);

							sprintf(msg, "[CAL] Point %d: RAW=%d.%d -> POS=%d.%d (%d/5)\r\n", cal_idx, r_i, abs(r_d),
									a_i, abs(a_d), __builtin_popcount(Calibration_GetReceivedPointsMask()));
							HAL_UART_Transmit(&huart3, (uint8_t*) msg, strlen(msg), 100);
						}
					}
				}
			} else if (rx_buffer[0] == 'M' && rx_buffer[1] == ':') {
				// M:0 -> GUI, M:1 -> Potencjometr, M:2 -> Sinus
				control_mode = (uint8_t) atoi((char*) &rx_buffer[2]);
				const char *mode_names[] = { "GUI", "ANALOG", "SINUS" };
				if (control_mode <= 2) {
					sprintf(msg, "MODE: %s\r\n", mode_names[control_mode]);
					HAL_UART_Transmit(&huart3, (uint8_t*) msg, strlen(msg), 100);
				}
			} else if (rx_buffer[0] == 'R' && rx_buffer[1] == ':') {
				// R:0 -> Stop regulatora, R:1 -> Start regulatora
				g_regulator_enabled = (uint8_t) atoi((char*) &rx_buffer[2]);
				sprintf(msg, "REG: %s\r\n", g_regulator_enabled ? "ON" : "OFF");
				HAL_UART_Transmit(&huart3, (uint8_t*) msg, strlen(msg), 100);

				// Jeśli wyłączony - ustaw serwo na środek
				if (!g_regulator_enabled) {
					// SetServoAngle(SERVO_CENTER); // USUNIĘTE: Teraz używamy g_manual_servo_angle
				}
			} else if (rx_buffer[0] == 'T' && rx_buffer[1] == ':') {
				// T:xx -> Zmiana okresu próbkowania (ms)
				uint32_t new_dt = (uint32_t) atoi((char*) &rx_buffer[2]);
				if (new_dt >= 5 && new_dt <= 500) {
					g_pid_dt_ms = new_dt;
					// g_pid_needs_reinit = 1; // Removed
					sprintf(msg, "DT: %lu ms (%.1f Hz)\r\n", g_pid_dt_ms, 1000.0f / g_pid_dt_ms);
					HAL_UART_Transmit(&huart3, (uint8_t*) msg, strlen(msg), 100);
				} else {
					sprintf(msg, "DT ERR: must be 5-500ms\r\n");
					HAL_UART_Transmit(&huart3, (uint8_t*) msg, strlen(msg), 100);
				}
			} else if (rx_buffer[0] == 'L' && rx_buffer[1] == ':') {
				// L:Angle -> Ustawienie kąta w trybie otwartym (gdy R:0)
				// Teraz akceptujemy kąt w stopniach (-30 do +30)
				g_manual_servo_angle_deg = atof((char*) &rx_buffer[2]);
				if (g_manual_servo_angle_deg < SERVO_MIN_DEG)
					g_manual_servo_angle_deg = SERVO_MIN_DEG;
				if (g_manual_servo_angle_deg > SERVO_MAX_DEG)
					g_manual_servo_angle_deg = SERVO_MAX_DEG;

				// NATYCHMIAST ustaw serwo (bez czekania na główną pętlę)
				SetServoAngleDeg(g_manual_servo_angle_deg);

				// Send ACK for debugging
				sprintf(msg, "L-ACK: %.2f deg\r\n", g_manual_servo_angle_deg);
				HAL_UART_Transmit(&huart3, (uint8_t*) msg, strlen(msg), 10);
			} else if (strncmp((char*) rx_buffer, "TEST:START", 10) == 0) {
				g_test_index = 0;
				g_test_running = 1;
				g_regulator_enabled = 0; // Wyłącz regulator PID
				sprintf(msg, "[TEST] STARTED. Len=%d\r\n", (int) SEQUENCE_LEN);
				HAL_UART_Transmit(&huart3, (uint8_t*) msg, strlen(msg), 100);
			} else if (strncmp((char*) rx_buffer, "TEST:STOP", 9) == 0) {
				g_test_running = 0;
				SetServoAngleDeg(SERVO_CENTER);
				sprintf(msg, "[TEST] STOPPED.\r\n");
				HAL_UART_Transmit(&huart3, (uint8_t*) msg, strlen(msg), 100);
			}

			cmd_received = 0;
		}

		// Aktualizacja LEDów błędu (niekrytyczne czasowo)
		UpdateErrorLEDs_5LED(g_current_error);

		osDelay(5); // 5ms - wystarczająco szybko dla UART
	}
	/* USER CODE END 5 */
}

void StartControlTask(void const *argument) {
	/* USER CODE BEGIN StartControlTask */
	// Uruchomienie PWM dla serwa (Timer 3, Kanał 1)
	HAL_TIM_PWM_Start(&htim3, TIM_CHANNEL_1);

	// Czekamy 2 sekundy
	HAL_UART_Transmit(&huart3, (uint8_t*) "Stabilizing Power...\r\n", 22, 100);
	osDelay(2000);

	HAL_UART_Transmit(&huart3, (uint8_t*) "Setting Servo to CENTER\r\n", 25, 100);
	SetServoAngleDeg(SERVO_CENTER_DEG); // Ustaw serwo na środek (0°)

	HAL_GPIO_WritePin(GPIOB, LD1_Pin, GPIO_PIN_SET);
	osDelay(200);
	HAL_GPIO_WritePin(GPIOB, LD1_Pin, GPIO_PIN_RESET);

	HAL_UART_Receive_DMA(&huart3, dma_rx_buffer, DMA_RX_BUFFER_SIZE);
	__HAL_DMA_DISABLE_IT(&hdma_usart3_rx, DMA_IT_HT);
	__HAL_DMA_DISABLE_IT(&hdma_usart3_rx, DMA_IT_TC);

	HAL_UART_Transmit(&huart3, (uint8_t*) "[VISION] DMA UART initialized\r\n", 31, 100);
	HAL_UART_Transmit(&huart3, (uint8_t*) "[VISION] Waiting for Python data...\r\n", 37, 100);
	HAL_UART_Transmit(&huart3, (uint8_t*) "[VISION] Format: V:pos_mm;B:angle_deg;C:CRC\\n\r\n", 47, 100);

	Calibration_Init();

	uint32_t loop_counter = 0;

	LQR_Init(&g_lqr_ctrl, g_K1, g_K2, g_K3, SERVO_MIN_LIMIT, SERVO_MAX_LIMIT);
	ServoPID_Init(&g_servo_pid);

	// Ustaw serwo na pozycję środkową przy starcie (0° = poziomo)
	SetServoAngleDeg(SERVO_CENTER_DEG);

	float prev_valid_dist = 145.0f;
	static float last_servo_angle = SERVO_CENTER_DEG;

	for (int i = 0; i < AVG_ERR_SAMPLES; i++)
		err_buffer[i] = 0.0f;

	/* Infinite loop */
	for (;;) {
		loop_counter++;

		// ProcessDmaRxBuffer wywołany w StartDefaultTask (tam obsługa komend)
		// Tutaj tylko odczytujemy dane wizyjne z volatile zmiennych

		// ServoPID automatycznie pobiera wzmocnienia z g_Kp/g_Ki/g_Kd w każdej iteracji
		// Nie ma potrzeby reinicjalizacji - zmiany są natychmiastowe

		// Obsługa komend UART przeniesiona do StartDefaultTask

		uint8_t vision_timeout = (HAL_GetTick() - g_vision_last_update) > 200;

		float vision_ball_pos;
		float vision_beam_angle;

		if (g_vision_data_valid && !vision_timeout) {
			vision_ball_pos = g_vision_ball_pos;
			vision_beam_angle = g_vision_beam_angle;
			distance = (uint16_t) vision_ball_pos;
		} else {
			vision_ball_pos = prev_valid_dist;
			vision_beam_angle = 0.0f;
			distance = (uint16_t) prev_valid_dist;
		}

		// --- Obsługa Potencjometru ---
		// Wyzwalanie ręczne (Single Mode)
		HAL_ADC_Start(&hadc1); // Start konwersji
		if (HAL_ADC_PollForConversion(&hadc1, 10) == HAL_OK) {
			g_adc_raw = HAL_ADC_GetValue(&hadc1);
			float pot_setpoint = (float) g_adc_raw * 0.070818f;
			g_pot_setpoint = pot_setpoint;

			if (control_mode == 1) {
				static float pot_ema = 0.0f;
				if (pot_ema == 0.0f)
					pot_ema = pot_setpoint;

				pot_ema = 0.1f * pot_setpoint + 0.9f * pot_ema;
				g_setpoint = pot_ema;
			}
		}
		HAL_ADC_Stop(&hadc1);

		if (control_mode == 2) {
			float t = (float) HAL_GetTick() / 1000.0f;
			float period = 5.0f;
			float amplitude = 50.0f;
			float center = 125.0f;

			g_setpoint = center + amplitude * sinf(2.0f * 3.14159f * t / period);
		}

		if (vision_ball_pos >= 0.0f && vision_ball_pos <= 300.0f) {
			prev_valid_dist = vision_ball_pos;
		}

		static float filtered_vision = 125.0f;
		float alpha_vision = 0.7f;
		filtered_vision = alpha_vision * prev_valid_dist + (1.0f - alpha_vision) * filtered_vision;

		uint16_t final_output = (uint16_t) filtered_vision;

		// --- TEST ID SEQUENCE ---
		if (g_test_running) {
			if (g_test_index < SEQUENCE_LEN) {
				uint16_t pwm_val = pwm_sequence[g_test_index];
				// Set PWM directly
				__HAL_TIM_SET_COMPARE(&htim3, TIM_CHANNEL_1, pwm_val);

				// Calculate angle for telemetry (approximation)
				float test_angle = ((float) pwm_val - 500.0f) * 200.0f / 2000.0f;
				last_servo_angle = test_angle;

				// Prepare telemetry variables
				uint16_t dist_display = distance;
				uint16_t filt_display = final_output;

				char data_buffer[96];
				int len = sprintf(data_buffer, "T:%lu;D:%d;Z:%d;A:%d;F:%d;E:0;V:0;B:%d", HAL_GetTick(),
						(int) dist_display, (int) g_setpoint, (int) test_angle, (int) filt_display,
						(int) (vision_beam_angle * 100));  // B: kąt belki * 100 (dla precyzji)
				uint8_t out_crc = CalculateCRC8(data_buffer, len);
				sprintf(msg, "%s;C:%02X\r\n", data_buffer, out_crc);
				HAL_UART_Transmit(&huart3, (uint8_t*) msg, strlen(msg), 10);

				g_test_index++;
			} else {
				// End of sequence
				g_test_running = 0;
				SetServoAngleDeg(SERVO_CENTER_DEG);
				HAL_UART_Transmit(&huart3, (uint8_t*) "TEST:FINISHED\r\n", 15, 100);
			}
			HAL_GPIO_TogglePin(GPIOB, LD2_Pin);
			osDelay(g_pid_dt_ms); // Maintain constant sampling rate!
			continue;
		}

		// --- Sprawdzenie czy regulator jest włączony ---
		if (!g_regulator_enabled) {
			// Regulator wyłączony - sterowanie manualne / otwarte
			SetServoAngleSmoothDeg(g_manual_servo_angle_deg);
			last_servo_angle = g_current_hw_angle_deg;

			// Telemetria - dane z wizji
			uint16_t dist_display = distance;
			uint16_t filt_display = final_output;

			char data_buffer[96];
			int len = sprintf(data_buffer, "T:%lu;D:%d;Z:%d;A:%d;F:%d;E:0;V:0;B:%d", HAL_GetTick(), (int) dist_display,
					(int) g_setpoint, (int) last_servo_angle, (int) filt_display, (int) (vision_beam_angle * 100)); // B: kąt belki * 100
			uint8_t out_crc = CalculateCRC8(data_buffer, len);
			sprintf(msg, "%s;C:%02X\r\n", data_buffer, out_crc);
			HAL_UART_Transmit(&huart3, (uint8_t*) msg, strlen(msg), 10);

			HAL_GPIO_TogglePin(GPIOB, LD2_Pin);
			osDelay(g_pid_dt_ms);
			continue; // Pomiń PID i sterowanie serwem
		}

		// --- Dane z wizji nie wymagają kalibracji czujnika TOF ---
		// Kalibracja OpenCV odbywa się po stronie Pythona

		// filtered_dist = pozycja piłeczki z wizji (już przefiltrowana)
		float filtered_dist = (float) final_output;

		float current_error = g_setpoint - filtered_dist;
		float pid_error = current_error;

		// --- Obliczanie Średniego Błędu (Rolling Average) ---
		float current_abs_err = (current_error < 0) ? -current_error : current_error;

		err_sum -= err_buffer[err_idx];
		err_buffer[err_idx] = current_abs_err;
		err_sum += current_abs_err;

		err_idx++;
		if (err_idx >= AVG_ERR_SAMPLES)
			err_idx = 0;

		float avg_error = err_sum / AVG_ERR_SAMPLES;

		// Strefa nieczułości dla uchybu (stabilizacja w punkcie równowagi)
		if (pid_error > -2.0f && pid_error < 2.0f) {
			pid_error = 0.0f;
		}

		// Warunkowe obliczenie regulatora - wybór implementacji
		float pid_output;
		if (g_pid_mode == 0) {
			float error = g_setpoint - filtered_dist;
			pid_output = ServoPID_Compute(&g_servo_pid, error, filtered_dist);
		} else if (g_pid_mode == 1) {
			float dt = 0.01f;
			float beam_angle_rad = vision_beam_angle * (3.14159f / 180.0f);
			pid_output = LQR_Compute(&g_lqr_ctrl, g_setpoint, filtered_dist, beam_angle_rad, dt);
		} else {
			float error = g_setpoint - filtered_dist;
			pid_output = ServoPID_Compute(&g_servo_pid, error, filtered_dist);
		}
		float pid_angle = pid_output;
		g_current_error = current_error;

		// --- Feedforward dla trybu Sinus ---
		// Analityczna pochodna: d(setpoint)/dt = amplitude * (2π/period) * cos(2π*t/period)
		if (control_mode == 2) {
			float t = (float) HAL_GetTick() / 1000.0f;
			float period = 5.0f;
			float amplitude = 50.0f;
			float omega = 2.0f * 3.14159f / period;  // częstotliwość kątowa

			float setpoint_derivative = amplitude * omega * cosf(omega * t);

			// Kff - współczynnik feedforward (do dostrojenia)
			float Kff = 0.2f;
			float feedforward = Kff * setpoint_derivative;
			pid_angle += feedforward;
		}

		// Rate limiter usunięty - saturacja wystarczy jako zabezpieczenie

		// Zabezpieczenie przed NaN (Not a Number)
		if (isnan(pid_angle) || isinf(pid_angle)) {
			pid_angle = SERVO_CENTER;
		}

		if (pid_angle < SERVO_MIN_LIMIT)
			pid_angle = SERVO_MIN_LIMIT;
		else if (pid_angle > SERVO_MAX_LIMIT)
			pid_angle = SERVO_MAX_LIMIT;

		// Slew Rate Limiter handled by SetServoAngleSmoothDeg
		SetServoAngleSmoothDeg(pid_angle);
		last_servo_angle = g_current_hw_angle_deg;
		volatile float smoothed_angle = last_servo_angle;

		char data_buffer[96];
		// T:Time; D:Dist (raw); Z:Setpoint; A:Angle; F:Filtered; E:Error; V:AvgError; B:BeamAngle*100
		int len = sprintf(data_buffer, "T:%lu;D:%d;Z:%d;A:%d;F:%d;E:%d;V:%d;B:%d", HAL_GetTick(), (int) distance, // D: pozycja piłeczki z wizji (raw)
				(int) g_setpoint,         // Z: setpoint
				(int) smoothed_angle,     // A: kąt serwa
				(int) filtered_dist,      // F: pozycja przefiltrowana
				(int) current_error,      // E: błąd
				(int) avg_error,          // V: średni błąd
				(int) (vision_beam_angle * 100));  // B: kąt belki z wizji * 100

		uint8_t out_crc = CalculateCRC8(data_buffer, len);

		sprintf(msg, "%s;C:%02X\r\n", data_buffer, out_crc);
		static uint8_t u_throttle = 0;
		if (++u_throttle >= 2) {
			u_throttle = 0;
			HAL_UART_Transmit(&huart3, (uint8_t*) msg, strlen(msg), 10); // Timeout 10ms
		}

		osDelay(g_pid_dt_ms); // Loop delay
	}
	/* USER CODE END StartControlTask */
}

void HAL_TIM_PeriodElapsedCallback(TIM_HandleTypeDef *htim) {
	if (htim->Instance == TIM1) {
		HAL_IncTick();
	}
}

void Error_Handler(void) {
	__disable_irq();
	while (1) {
	}
}
